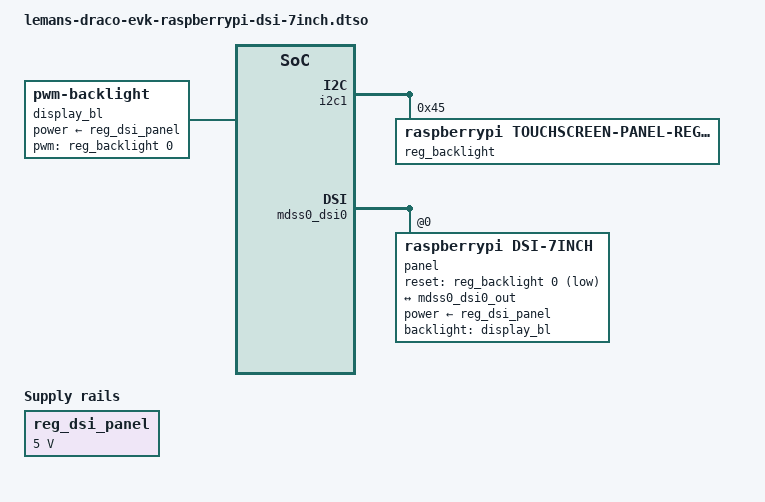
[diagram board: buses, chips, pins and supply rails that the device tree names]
// SPDX-License-Identifier: BSD-3-Clause
/*
 * Copyright (c) Qualcomm Technologies, Inc. and/or its subsidiaries.
 */

/dts-v1/;
/plugin/;

#include <dt-bindings/gpio/gpio.h>

&{/} {
	display_bl: backlight {
		compatible = "pwm-backlight";
		power-supply = <&reg_dsi_panel>;
		pwms = <&reg_backlight 0 255 0>;
	};

	reg_dsi_panel: regulator-dsi-panel {
		compatible = "regulator-fixed";
		regulator-name = "rpi-dsi-panel";
		regulator-min-microvolt = <5000000>;
		regulator-max-microvolt = <5000000>;
	};
};

&hdmi_connector {
	status = "disabled";
};

&lt9611uxd {
	status = "disabled";
};

&i2c1 {
	i2c-mux@70 {
		#address-cells = <1>;
		#size-cells = <0>;

		i2c@0 {
			#address-cells = <1>;
			#size-cells = <0>;

			reg_backlight: reg_backlight@45 {
				compatible = "raspberrypi,touchscreen-panel-regulator-v2";
				reg = <0x45>;
				//vcc-supply = <&vreg_bridge_3p3>;

				gpio-controller;
				#gpio-cells = <2>;
				#pwm-cells = <3>;
			};
		};
	};
};

&mdss0_dsi0 {
	status = "okay";

	#address-cells = <1>;
	#size-cells = <0>;

	panel@0 {
		compatible = "raspberrypi,dsi-7inch";
		reg = <0>;

		reset-gpios = <&reg_backlight 0 GPIO_ACTIVE_LOW>;
		power-supply = <&reg_dsi_panel>;
		backlight = <&display_bl>;

		port {
			panel0_in: endpoint {
				remote-endpoint = <&mdss0_dsi0_out>;
			};
		};
	};
};

&mdss0_dsi0_out {
	remote-endpoint = <&panel0_in>;
	data-lanes = <0 1>;
};
